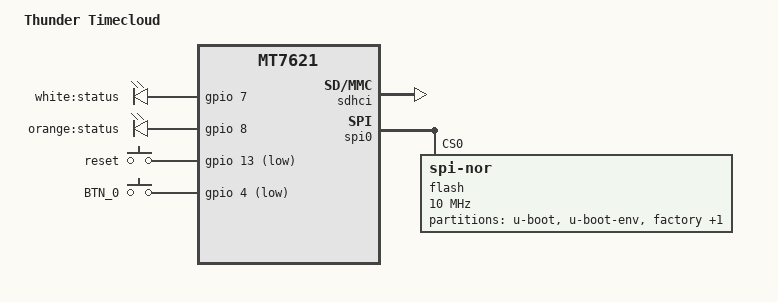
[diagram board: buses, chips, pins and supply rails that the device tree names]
#include "mt7621.dtsi"

#include <dt-bindings/gpio/gpio.h>
#include <dt-bindings/input/input.h>

/ {
	compatible = "thunder,timecloud", "mediatek,mt7621-soc";
	model = "Thunder Timecloud";

	aliases {
		led-boot = &led_statuso;
		led-failsafe = &led_statuso;
		led-running = &led_statuso;
		led-upgrade = &led_statuso;
	};

	chosen {
		bootargs = "console=ttyS0,115200";
	};

	leds {
		compatible = "gpio-leds";

		statw {
			label = "white:status";
			gpios = <&gpio 7 GPIO_ACTIVE_HIGH>;
		};

		led_statuso: stato {
			label = "orange:status";
			gpios = <&gpio 8 GPIO_ACTIVE_HIGH>;
		};
	};

	keys {
		compatible = "gpio-keys";

		reset {
			label = "reset";
			gpios = <&gpio 13 GPIO_ACTIVE_LOW>;
			linux,code = <KEY_RESTART>;
		};

		BTN_0 {
			label = "BTN_0";
			gpios = <&gpio 4 GPIO_ACTIVE_LOW>;
			linux,code = <BTN_0>;
		};
	};
};

&sdhci {
	status = "okay";
};

&spi0 {
	status = "okay";

	flash@0 {
		compatible = "jedec,spi-nor";
		reg = <0>;
		spi-max-frequency = <10000000>;

		partitions {
			compatible = "fixed-partitions";
			#address-cells = <1>;
			#size-cells = <1>;

			partition@0 {
				label = "u-boot";
				reg = <0x0 0x30000>;
				read-only;
			};

			partition@30000 {
				label = "u-boot-env";
				reg = <0x30000 0x10000>;
				read-only;
			};

			factory: partition@40000 {
				label = "factory";
				reg = <0x40000 0x10000>;
				read-only;
			};

			partition@50000 {
				compatible = "denx,uimage";
				label = "firmware";
				reg = <0x50000 0xfb0000>;
			};
		};
	};
};

&gmac0 {
	nvmem-cells = <&macaddr_factory_e000>;
	nvmem-cell-names = "mac-address";
};

&switch0 {
	ports {
		port@4 {
			status = "okay";
			label = "lan";
		};
	};
};

&state_default {
	gpio {
		groups = "i2c", "uart2", "jtag";
		function = "gpio";
	};
};

&factory {
	compatible = "nvmem-cells";
	#address-cells = <1>;
	#size-cells = <1>;

	macaddr_factory_e000: macaddr@e000 {
		reg = <0xe000 0x6>;
	};
};
